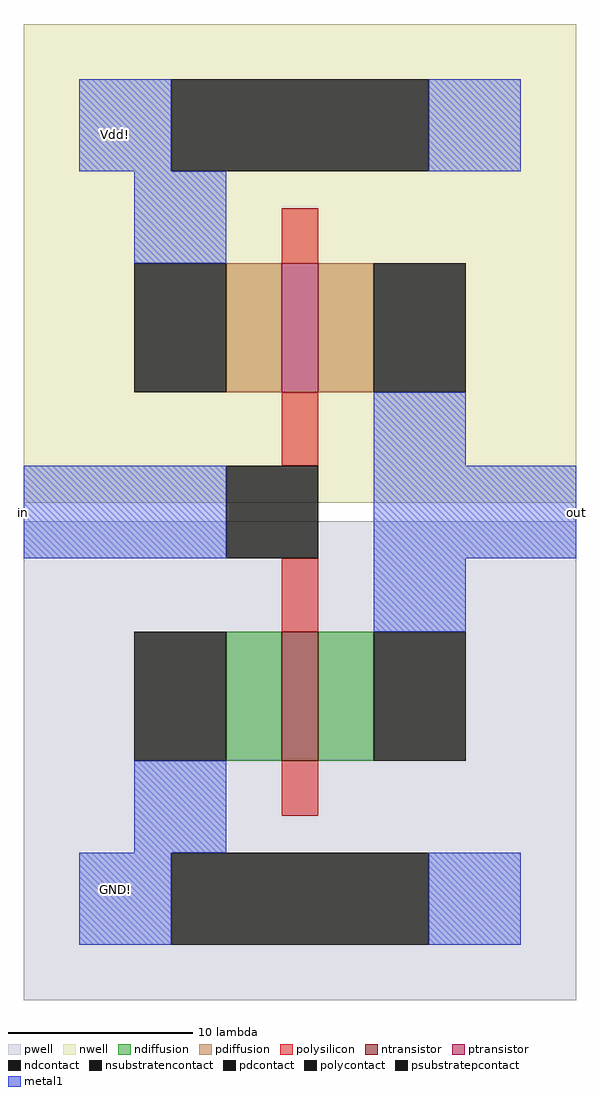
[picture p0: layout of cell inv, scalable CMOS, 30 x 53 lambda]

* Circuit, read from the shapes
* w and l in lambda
.subckt inv GND! Vdd! in out
M1 out in GND! GND! nfet w=7 l=2
M2 out in Vdd! Vdd! pfet w=7 l=2
.ends

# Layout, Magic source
magic
tech scmos
<< nwell >>
rect -10 14 20 40
<< pwell >>
rect -10 -13 20 13
<< ntransistor >>
rect 4 0 6 7
<< ptransistor >>
rect 4 20 6 27
<< ndiffusion >>
rect 1 0 4 7
rect 6 0 9 7
<< pdiffusion >>
rect 1 20 4 27
rect 6 20 9 27
<< ndcontact >>
rect -4 0 1 7
rect 9 0 14 7
<< pdcontact >>
rect -4 20 1 27
rect 9 20 14 27
<< psubstratepcontact >>
rect -2 -10 12 -5
<< nsubstratencontact >>
rect -2 32 12 37
<< polysilicon >>
rect 4 27 6 30
rect 4 16 6 20
rect 4 7 6 11
rect 4 -3 6 0
<< polycontact >>
rect 1 11 6 16
<< metal1 >>
rect -7 32 -2 37
rect 12 32 17 37
rect -4 27 1 32
rect 9 16 14 20
rect -10 11 1 16
rect 9 11 20 16
rect 9 7 14 11
rect -4 -5 1 0
rect -7 -10 -2 -5
rect 12 -10 17 -5
<< labels >>
rlabel metal1 -10 11 -10 16 3 in
rlabel metal1 20 11 20 16 7 out
rlabel metal1 -5 34 -5 34 3 Vdd!
rlabel metal1 -5 -7 -5 -7 3 GND!
<< end >>
